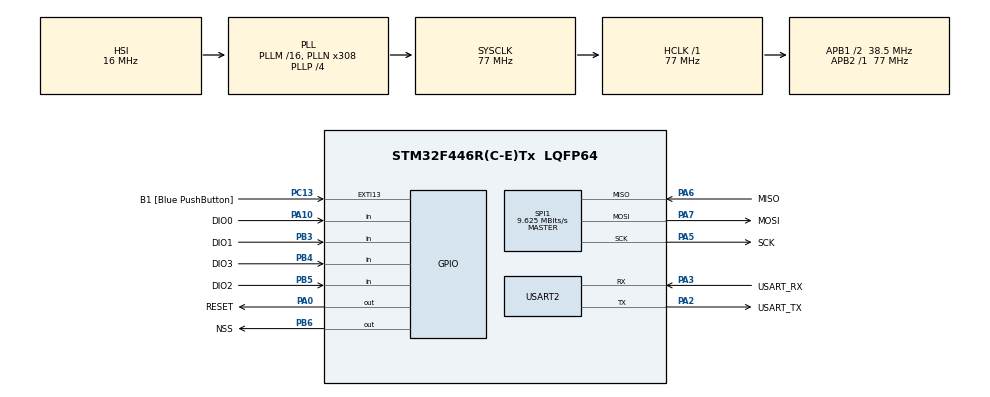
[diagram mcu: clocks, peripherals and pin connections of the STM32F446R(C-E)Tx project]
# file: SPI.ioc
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Mcu.Family=STM32F4
Mcu.Name=STM32F446R(C-E)Tx
Mcu.Package=LQFP64
NVIC.PriorityGroup=NVIC_PRIORITYGROUP_0
NVIC.SPI1_IRQn=true\:0\:0\:false\:false\:true\:true\:true
PA0-WKUP.GPIO_Label=RESET
PA0-WKUP.Signal=GPIO_Output
PA10.GPIO_Label=DIO0
PA10.Signal=GPIO_Input
PA13.GPIO_Label=TMS
PA13.Mode=Serial_Wire
PA13.Signal=SYS_JTMS-SWDIO
PA14.GPIO_Label=TCK
PA14.Mode=Serial_Wire
PA14.Signal=SYS_JTCK-SWCLK
PA2.GPIO_Label=USART_TX
PA2.Mode=Asynchronous
PA2.Signal=USART2_TX
PA3.GPIO_Label=USART_RX
PA3.Mode=Asynchronous
PA3.Signal=USART2_RX
PA5.GPIO_Label=SCK
PA5.Mode=Full_Duplex_Master
PA5.Signal=SPI1_SCK
PA6.GPIO_Label=MISO
PA6.Mode=Full_Duplex_Master
PA6.Signal=SPI1_MISO
PA7.GPIO_Label=MOSI
PA7.Mode=Full_Duplex_Master
PA7.Signal=SPI1_MOSI
PB3.GPIO_Label=DIO1
PB3.Signal=GPIO_Input
PB4.GPIO_Label=DIO3
PB4.Signal=GPIO_Input
PB5.GPIO_Label=DIO2
PB5.Signal=GPIO_Input
PB6.GPIO_Label=NSS
PB6.GPIO_Speed=GPIO_SPEED_FREQ_VERY_HIGH
PB6.Signal=GPIO_Output
PC13.GPIO_Label=B1 [Blue PushButton]
PC13.GPIO_ModeDefaultEXTI=GPIO_MODE_IT_FALLING
PC13.Signal=GPXTI13
PC14-OSC32_IN.Mode=LSE-External-Oscillator
PC14-OSC32_IN.Signal=RCC_OSC32_IN
PC15-OSC32_OUT.Mode=LSE-External-Oscillator
PC15-OSC32_OUT.Signal=RCC_OSC32_OUT
PH0-OSC_IN.Mode=HSE-External-Oscillator
PH0-OSC_IN.Signal=RCC_OSC_IN
PH1-OSC_OUT.Mode=HSE-External-Oscillator
PH1-OSC_OUT.Signal=RCC_OSC_OUT
ProjectManager.HeapSize=0x200
ProjectManager.StackSize=0x400
ProjectManager.TargetToolchain=STM32CubeIDE
RCC.48MHZClocksFreq_Value=84000000
RCC.AHBFreq_Value=77000000
RCC.APB1CLKDivider=RCC_HCLK_DIV2
RCC.APB1Freq_Value=38500000
RCC.APB1TimFreq_Value=77000000
RCC.APB2Freq_Value=77000000
RCC.APB2TimFreq_Value=77000000
RCC.CortexFreq_Value=77000000
RCC.FLatency-AdvancedSettings=FLASH_LATENCY_2
RCC.HCLKFreq_Value=77000000
RCC.HSE_VALUE=8000000
RCC.HSI_VALUE=16000000
RCC.PLLN=308
RCC.PLLP=RCC_PLLP_DIV4
RCC.SYSCLKFreq_VALUE=77000000
RCC.SYSCLKSource=RCC_SYSCLKSOURCE_PLLCLK
RCC.USBFreq_Value=154000000
RCC.VCOOutputFreq_Value=308000000
SPI1.BaudRatePrescaler=SPI_BAUDRATEPRESCALER_8
SPI1.CalculateBaudRate=9.625 MBits/s
SPI1.Direction=SPI_DIRECTION_2LINES
SPI1.Mode=SPI_MODE_MASTER
SPI1.VirtualType=VM_MASTER
USART2.VirtualMode=VM_ASYNC
board=NUCLEO-F446RE

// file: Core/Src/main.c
/* USER CODE BEGIN Header */
/**
  ******************************************************************************
  * @file           : main.c
  * @brief          : Main program body
  ******************************************************************************
  * @attention
  *
  * <h2><center>&copy; Copyright (c) 2020 STMicroelectronics.
  * All rights reserved.</center></h2>
  *
  * This software component is licensed by ST under BSD 3-Clause license,
  * the "License"; You may not use this file except in compliance with the
  * License. You may obtain a copy of the License at:
  *                        opensource.org/licenses/BSD-3-Clause
  *
  ******************************************************************************
  */
/* USER CODE END Header */
#include "main.h"

/* USER CODE BEGIN Includes */
#include "SX1272.h"
#define RECEIVER 1
/* USER CODE END Includes */

SPI_HandleTypeDef hspi1;
UART_HandleTypeDef huart2;

void SystemClock_Config(void);
static void MX_GPIO_Init(void);
static void MX_USART2_UART_Init(void);
static void MX_SPI1_Init(void);

int main(void)
{

  /* MCU Configuration--------------------------------------------------------*/

  /* Reset of all peripherals, Initializes the Flash interface and the Systick. */
  HAL_Init();

  /* Configure the system clock */
  SystemClock_Config();

  /* Initialize all configured peripherals */
  MX_GPIO_Init();
  MX_USART2_UART_Init();
  MX_SPI1_Init();
  /* USER CODE BEGIN 2 */
  SX1272_Init();
  /* USER CODE END 2 */

  /* Infinite loop */
  /* USER CODE BEGIN WHILE */
  uint8_t u8RCVLen = 0;
  uint8_t au8RxBuffer[50];
  au8RxBuffer[0] = 0; //! using byte 0 as a flag

  uint8_t* msg = "Hello Allan\n\r";

  while (1)
  {
    /* USER CODE END WHILE */

    /* USER CODE BEGIN 3 */
#if RECEIVER == 0
	SX1272_Transmit(msg, 13);
	HAL_Delay(1000);
#else
	u8RCVLen = SX1272_Receive(au8RxBuffer);

	if(au8RxBuffer[0] != 0) {
	  HAL_UART_Transmit(&huart2, au8RxBuffer, u8RCVLen, HAL_MAX_DELAY);
	  au8RxBuffer[0] = 0; //! using byte 0 as a flag
	}
#endif

  }
  /* USER CODE END 3 */
}

void SystemClock_Config(void)
{
  RCC_OscInitTypeDef RCC_OscInitStruct = {0};
  RCC_ClkInitTypeDef RCC_ClkInitStruct = {0};

  /** Configure the main internal regulator output voltage
  */
  __HAL_RCC_PWR_CLK_ENABLE();
  __HAL_PWR_VOLTAGESCALING_CONFIG(PWR_REGULATOR_VOLTAGE_SCALE3);
  /** Initializes the RCC Oscillators according to the specified parameters
  * in the RCC_OscInitTypeDef structure.
  */
  RCC_OscInitStruct.OscillatorType = RCC_OSCILLATORTYPE_HSI;
  RCC_OscInitStruct.HSIState = RCC_HSI_ON;
  RCC_OscInitStruct.HSICalibrationValue = RCC_HSICALIBRATION_DEFAULT;
  RCC_OscInitStruct.PLL.PLLState = RCC_PLL_ON;
  RCC_OscInitStruct.PLL.PLLSource = RCC_PLLSOURCE_HSI;
  RCC_OscInitStruct.PLL.PLLM = 16;
  RCC_OscInitStruct.PLL.PLLN = 308;
  RCC_OscInitStruct.PLL.PLLP = RCC_PLLP_DIV4;
  RCC_OscInitStruct.PLL.PLLQ = 2;
  RCC_OscInitStruct.PLL.PLLR = 2;
  if (HAL_RCC_OscConfig(&RCC_OscInitStruct) != HAL_OK)
  {
    Error_Handler();
  }
  /** Initializes the CPU, AHB and APB buses clocks
  */
  RCC_ClkInitStruct.ClockType = RCC_CLOCKTYPE_HCLK|RCC_CLOCKTYPE_SYSCLK
                              |RCC_CLOCKTYPE_PCLK1|RCC_CLOCKTYPE_PCLK2;
  RCC_ClkInitStruct.SYSCLKSource = RCC_SYSCLKSOURCE_PLLCLK;
  RCC_ClkInitStruct.AHBCLKDivider = RCC_SYSCLK_DIV1;
  RCC_ClkInitStruct.APB1CLKDivider = RCC_HCLK_DIV2;
  RCC_ClkInitStruct.APB2CLKDivider = RCC_HCLK_DIV1;

  if (HAL_RCC_ClockConfig(&RCC_ClkInitStruct, FLASH_LATENCY_2) != HAL_OK)
  {
    Error_Handler();
  }
}

static void MX_SPI1_Init(void)
{

  /* SPI1 parameter configuration*/
  hspi1.Instance = SPI1;
  hspi1.Init.Mode = SPI_MODE_MASTER;
  hspi1.Init.Direction = SPI_DIRECTION_2LINES;
  hspi1.Init.DataSize = SPI_DATASIZE_8BIT;
  hspi1.Init.CLKPolarity = SPI_POLARITY_LOW;
  hspi1.Init.CLKPhase = SPI_PHASE_1EDGE;
  hspi1.Init.NSS = SPI_NSS_SOFT;
  hspi1.Init.BaudRatePrescaler = SPI_BAUDRATEPRESCALER_8;
  hspi1.Init.FirstBit = SPI_FIRSTBIT_MSB;
  hspi1.Init.TIMode = SPI_TIMODE_DISABLE;
  hspi1.Init.CRCCalculation = SPI_CRCCALCULATION_DISABLE;
  hspi1.Init.CRCPolynomial = 10;
  if (HAL_SPI_Init(&hspi1) != HAL_OK)
  {
    Error_Handler();
  }

}

static void MX_USART2_UART_Init(void)
{

  huart2.Instance = USART2;
  huart2.Init.BaudRate = 115200;
  huart2.Init.WordLength = UART_WORDLENGTH_8B;
  huart2.Init.StopBits = UART_STOPBITS_1;
  huart2.Init.Parity = UART_PARITY_NONE;
  huart2.Init.Mode = UART_MODE_TX_RX;
  huart2.Init.HwFlowCtl = UART_HWCONTROL_NONE;
  huart2.Init.OverSampling = UART_OVERSAMPLING_16;
  if (HAL_UART_Init(&huart2) != HAL_OK)
  {
    Error_Handler();
  }

}

static void MX_GPIO_Init(void)
{
  GPIO_InitTypeDef GPIO_InitStruct = {0};

  /* GPIO Ports Clock Enable */
  __HAL_RCC_GPIOC_CLK_ENABLE();
  __HAL_RCC_GPIOH_CLK_ENABLE();
  __HAL_RCC_GPIOA_CLK_ENABLE();
  __HAL_RCC_GPIOB_CLK_ENABLE();

  /*Configure GPIO pin Output Level */
  HAL_GPIO_WritePin(RESET_GPIO_Port, RESET_Pin, GPIO_PIN_RESET);

  /*Configure GPIO pin Output Level */
  HAL_GPIO_WritePin(NSS_GPIO_Port, NSS_Pin, GPIO_PIN_RESET);

  /*Configure GPIO pin : B1_Pin */
  GPIO_InitStruct.Pin = B1_Pin;
  GPIO_InitStruct.Mode = GPIO_MODE_IT_FALLING;
  GPIO_InitStruct.Pull = GPIO_NOPULL;
  HAL_GPIO_Init(B1_GPIO_Port, &GPIO_InitStruct);

  /*Configure GPIO pin : RESET_Pin */
  GPIO_InitStruct.Pin = RESET_Pin;
  GPIO_InitStruct.Mode = GPIO_MODE_OUTPUT_PP;
  GPIO_InitStruct.Pull = GPIO_NOPULL;
  GPIO_InitStruct.Speed = GPIO_SPEED_FREQ_LOW;
  HAL_GPIO_Init(RESET_GPIO_Port, &GPIO_InitStruct);

  /*Configure GPIO pin : DIO0_Pin */
  GPIO_InitStruct.Pin = DIO0_Pin;
  GPIO_InitStruct.Mode = GPIO_MODE_INPUT;
  GPIO_InitStruct.Pull = GPIO_NOPULL;
  HAL_GPIO_Init(DIO0_GPIO_Port, &GPIO_InitStruct);

  /*Configure GPIO pins : DIO1_Pin DIO3_Pin DIO2_Pin */
  GPIO_InitStruct.Pin = DIO1_Pin|DIO3_Pin|DIO2_Pin;
  GPIO_InitStruct.Mode = GPIO_MODE_INPUT;
  GPIO_InitStruct.Pull = GPIO_NOPULL;
  HAL_GPIO_Init(GPIOB, &GPIO_InitStruct);

  /*Configure GPIO pin : NSS_Pin */
  GPIO_InitStruct.Pin = NSS_Pin;
  GPIO_InitStruct.Mode = GPIO_MODE_OUTPUT_PP;
  GPIO_InitStruct.Pull = GPIO_NOPULL;
  GPIO_InitStruct.Speed = GPIO_SPEED_FREQ_VERY_HIGH;
  HAL_GPIO_Init(NSS_GPIO_Port, &GPIO_InitStruct);

}

void Error_Handler(void)
{
}

/************************ (C) COPYRIGHT STMicroelectronics *****END OF FILE****/
